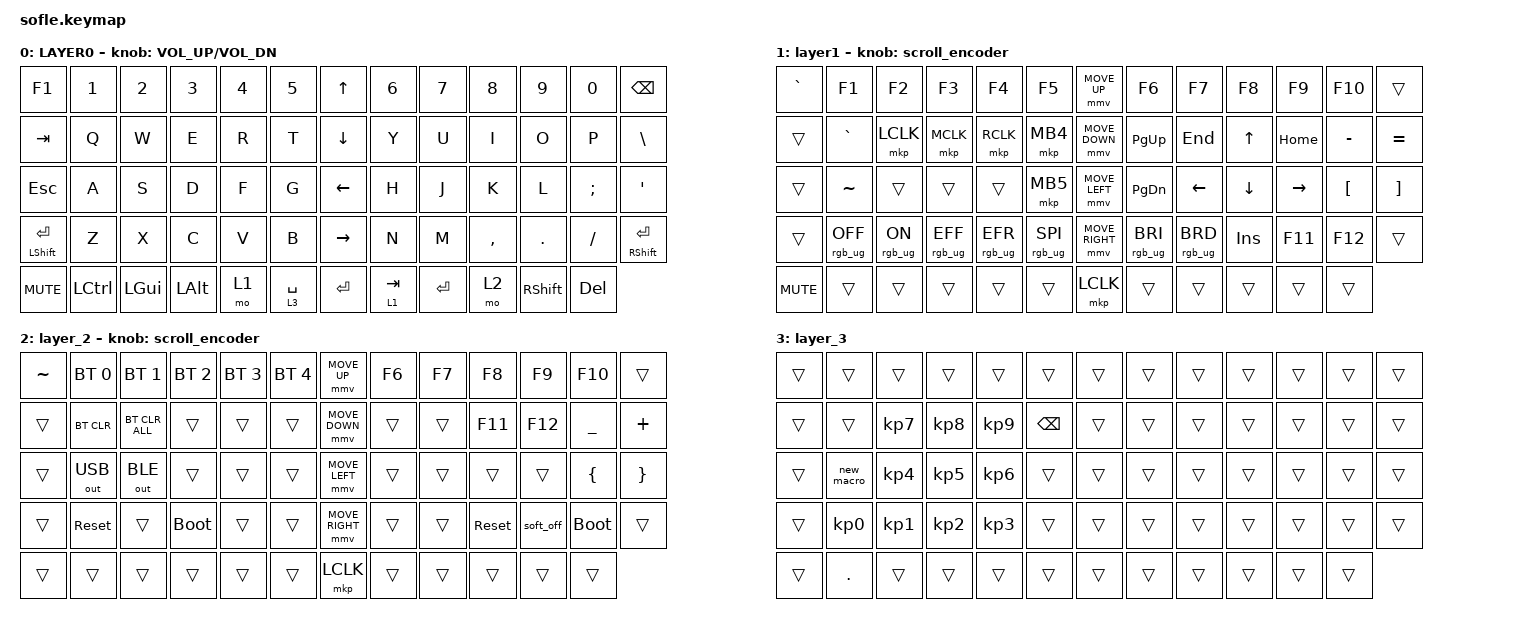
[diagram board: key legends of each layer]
#include <behaviors/mouse_keys.dtsi>
#include <dt-bindings/zmk/mouse.h>
#include <behaviors.dtsi>
#include <dt-bindings/zmk/bt.h>
#include <dt-bindings/zmk/keys.h>
#include <dt-bindings/zmk/outputs.h>
#include <dt-bindings/zmk/pointing.h>
#include <dt-bindings/zmk/pointing.h>
#include <dt-bindings/zmk/pointing.h>
#include <dt-bindings/zmk/rgb.h>

#define ZMK_MOUSE_DEFAULT_MOVE_VAL 1200  // 600
#define ZMK_MOUSE_DEFAULT_SCRL_VAL 20    // 10
#define U_MS_U &mmv MOVE_UP
#define U_MS_D &mmv MOVE_DOWN
#define U_MS_L &mmv MOVE_LEFT
#define U_MS_R &mmv MOVE_RIGHT
#define ZMK_MOUSE_DEFAULT_MOVE_VAL 1200  //  600
#define ZMK_MOUSE_DEFAULT_SCRL_VAL 20    // 10

/ {
    behaviors {
        mmv {
            acceleration-exponent = <1>;      // 1
            time-to-max-speed-ms = <900>;    // 40
            delay-ms = <0>;                   // 0
        };

        msc {
            acceleration-exponent = <1>;      // 0
            time-to-max-speed-ms = <400>;      // 500
            delay-ms = <0>;                   //   10
        };
    };

    scroll_encoder: scroll_encoder {
        compatible = "zmk,behavior-sensor-rotate";
        #sensor-binding-cells = <0>;
        bindings = <&msc SCRL_DOWN>, <&msc SCRL_UP>;

        tap-ms = <30>;
    };

    macros {
        new_macro: new_macro {
            compatible = "zmk,behavior-macro";
            #binding-cells = <0>;
            bindings = <&kp KP_NUMBER_0 &kp KP_NUMBER_0>;
            label = "NEW_MACRO";
        };
    };

    keymap {
        compatible = "zmk,keymap";

        layer0 {
            bindings = <
&kp F1           &kp N1     &kp N2        &kp N3        &kp N4  &kp N5         &kp UP_ARROW     &kp N6     &kp N7     &kp N8     &kp N9           &kp N0      &kp BACKSPACE
&kp TAB          &kp Q      &kp W         &kp E         &kp R   &kp T          &kp DOWN_ARROW   &kp Y      &kp U      &kp I      &kp O            &kp P       &kp BSLH
&kp ESC          &kp A      &kp S         &kp D         &kp F   &kp G          &kp LEFT_ARROW   &kp H      &kp J      &kp K      &kp L            &kp SEMI    &kp APOS
&mt LSHFT ENTER  &kp Z      &kp X         &kp C         &kp V   &kp B          &kp RIGHT_ARROW  &kp N      &kp M      &kp COMMA  &kp DOT          &kp FSLH    &mt RIGHT_SHIFT ENTER
&kp C_MUTE       &kp LCTRL  &kp LEFT_GUI  &kp LEFT_ALT  &mo 1   &lt 3 SPACE    &kp ENTER        &lt 1 TAB  &kp ENTER  &mo 2      &kp RIGHT_SHIFT  &kp DELETE
            >;

            sensor-bindings = <&inc_dec_kp C_VOLUME_UP C_VOL_DN>;
            display-name = "LAYER0";
        };

        layer_1 {
            bindings = <
&kp GRAVE   &kp F1           &kp F2          &kp F3           &kp F4           &kp F5             &mmv MOVE_UP     &kp F6           &kp F7           &kp F8      &kp F9     &kp F10           &trans
&trans      &kp GRAVE        &mkp LCLK       &mkp MCLK        &mkp RCLK        &mkp MB4           &mmv MOVE_DOWN   &kp PG_UP        &kp END          &kp UP      &kp HOME   &kp MINUS         &kp EQUAL
&trans      &kp TILDE        &trans          &trans           &trans           &mkp MB5           &mmv MOVE_LEFT   &kp PG_DN        &kp LEFT         &kp DOWN    &kp RIGHT  &kp LEFT_BRACKET  &kp RIGHT_BRACKET
&trans      &rgb_ug RGB_OFF  &rgb_ug RGB_ON  &rgb_ug RGB_EFF  &rgb_ug RGB_EFR  &rgb_ug RGB_SPI    &mmv MOVE_RIGHT  &rgb_ug RGB_BRI  &rgb_ug RGB_BRD  &kp INSERT  &kp F11    &kp F12           &trans
&kp C_MUTE  &trans           &trans          &trans           &trans           &trans             &mkp LCLK        &trans           &trans           &trans      &trans     &trans
            >;

            display-name = "layer1";
            sensor-bindings = <&scroll_encoder>;
        };

        layer_2 {
            bindings = <
&kp TILDE  &bt BT_SEL 0  &bt BT_SEL 1    &bt BT_SEL 2  &bt BT_SEL 3  &bt BT_SEL 4    &mmv MOVE_UP     &kp F6  &kp F7  &kp F8      &kp F9     &kp F10      &trans
&trans     &bt BT_CLR    &bt BT_CLR_ALL  &trans        &trans        &trans          &mmv MOVE_DOWN   &trans  &trans  &kp F11     &kp F12    &kp UNDER    &kp PLUS
&trans     &out OUT_USB  &out OUT_BLE    &trans        &trans        &trans          &mmv MOVE_LEFT   &trans  &trans  &trans      &trans     &kp LBRC     &kp RBRC
&trans     &sys_reset    &trans          &bootloader   &trans        &trans          &mmv MOVE_RIGHT  &trans  &trans  &sys_reset  &soft_off  &bootloader  &trans
&trans     &trans        &trans          &trans        &trans        &trans          &mkp LCLK        &trans  &trans  &trans      &trans     &trans
            >;

            sensor-bindings = <&scroll_encoder>;
        };

        layer_3 {
            bindings = <
&trans  &trans           &trans           &trans           &trans           &trans           &trans  &trans  &trans  &trans  &trans  &trans  &trans
&trans  &trans           &kp KP_NUMBER_7  &kp KP_NUMBER_8  &kp KP_NUMBER_9  &kp BACKSPACE    &trans  &trans  &trans  &trans  &trans  &trans  &trans
&trans  &new_macro       &kp KP_NUMBER_4  &kp KP_NUMBER_5  &kp KP_NUMBER_6  &trans           &trans  &trans  &trans  &trans  &trans  &trans  &trans
&trans  &kp KP_NUMBER_0  &kp KP_NUMBER_1  &kp KP_NUMBER_2  &kp KP_NUMBER_3  &trans           &trans  &trans  &trans  &trans  &trans  &trans  &trans
&trans  &kp PERIOD       &trans           &trans           &trans           &trans           &trans  &trans  &trans  &trans  &trans  &trans
            >;
        };
    };
};
